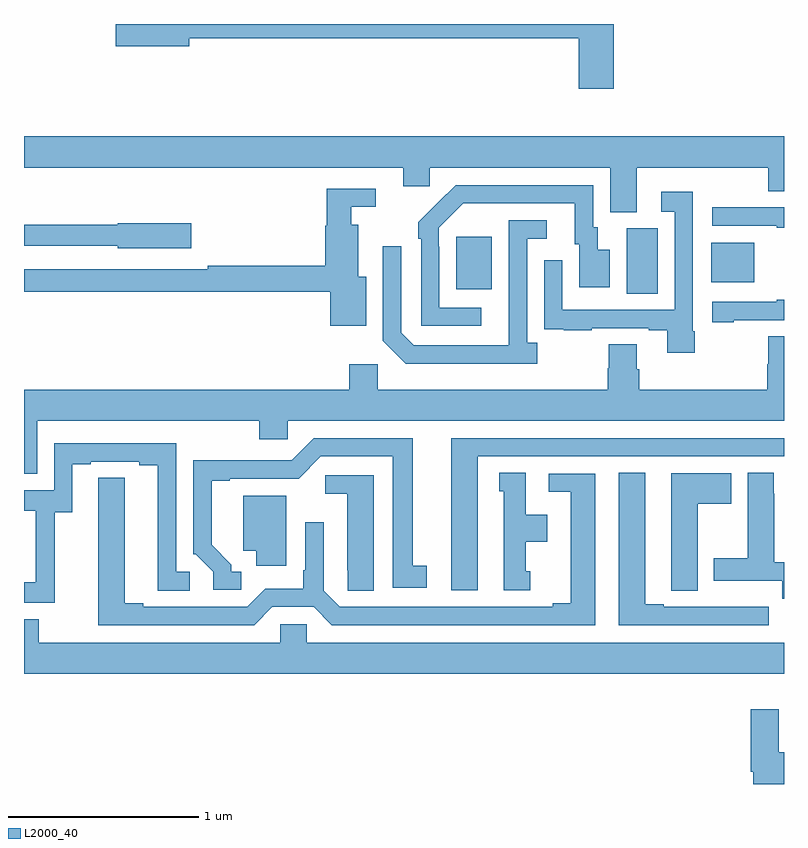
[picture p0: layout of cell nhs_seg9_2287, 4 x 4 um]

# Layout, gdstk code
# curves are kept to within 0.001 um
import gdstk
lib = gdstk.Library(unit=1e-6, precision=1e-09)
def R(c, l, rs):  # rectangles x0, y0, x1, y1
    for r in rs: c.add(gdstk.rectangle(r[:2], r[2:], *l))
def P(c, l, *ps):  # polygons
    for p in ps: c.add(gdstk.Polygon(p, *l))
L2000_40 = (2000, 40)

nhs_seg9_2287 = lib.new_cell('nhs_seg9_2287')
R(nhs_seg9_2287, L2000_40, [(244.172,1205.08,244.336,1205.424), (243.275,1205.105,243.463,1205.38), (244.616,1205.141,244.843,1205.35)])
P(nhs_seg9_2287, L2000_40, [(244.103,1206.5),(241.482,1206.5),(241.482,1206.382),(241.87,1206.382),(241.87,1206.424),(243.92,1206.424),(243.92,1206.159),(244.103,1206.159)],
  [(241,1205.744),(242.996,1205.744),(242.996,1205.646),(243.135,1205.646),(243.135,1205.744),(244.085,1205.744),(244.085,1205.509),(244.225,1205.509),(244.225,1205.744),(244.918,1205.744),(244.918,1205.62),(245,1205.62),(245,1205.908),(241,1205.908)],
  [(243.406,1205.007),(243.186,1205.007),(243.186,1205.327),(243.183,1205.327),(243.183,1205.427),(243.312,1205.556),(243.899,1205.556),(243.899,1205.34),(243.923,1205.34),(243.923,1205.115),(244.084,1205.115),(244.084,1205.311),(244.021,1205.311),(244.021,1205.43),(243.996,1205.43),(243.996,1205.652),(243.272,1205.652),(243.075,1205.457),(243.075,1205.369),(243.09,1205.369),(243.09,1204.911),(243.406,1204.911)],
  [(242.8,1205.17),(242.758,1205.17),(242.758,1205.443),(242.722,1205.443),(242.722,1205.538),(242.851,1205.538),(242.851,1205.634),(242.593,1205.634),(242.593,1205.439),(242.585,1205.439),(242.585,1205.228),(241.966,1205.228),(241.966,1205.208),(241,1205.208),(241,1205.092),(242.612,1205.092),(242.612,1204.913),(242.8,1204.913)],
  [(244.53,1204.882),(244.521,1204.882),(244.521,1205.617),(244.353,1205.617),(244.353,1205.511),(244.425,1205.511),(244.425,1204.995),(243.834,1204.995),(243.834,1205.257),(243.738,1205.257),(243.738,1205.002),(243.739,1205.002),(243.739,1204.893),(243.841,1204.893),(243.841,1204.887),(243.989,1204.887),(243.989,1204.899),(244.289,1204.899),(244.289,1204.887),(244.385,1204.887),(244.385,1204.77),(244.53,1204.77)],
  [(245,1205.535),(244.623,1205.535),(244.623,1205.439),(244.961,1205.439),(244.961,1205.427),(245,1205.427)],
  [(243.7,1204.822),(243.648,1204.822),(243.648,1205.37),(243.751,1205.37),(243.751,1205.466),(243.552,1205.466),(243.551,1204.809),(243.051,1204.809),(242.985,1204.875),(242.985,1205.329),(242.889,1205.329),(242.889,1204.833),(243.01,1204.712),(243.7,1204.712)],
  [(241.879,1205.451),(241.494,1205.451),(241.494,1205.443),(241,1205.443),(241,1205.334),(241.494,1205.334),(241.494,1205.321),(241.879,1205.321)],
  [(244.735,1204.941),(245,1204.941),(245,1205.05),(244.961,1205.05),(244.961,1205.037),(244.623,1205.037),(244.623,1204.929),(244.735,1204.929)],
  [(241.069,1204.412),(242.237,1204.412),(242.237,1204.314),(242.388,1204.314),(242.388,1204.412),(245,1204.412),(245,1204.856),(244.918,1204.856),(244.918,1204.71),(244.913,1204.71),(244.913,1204.576),(244.238,1204.576),(244.238,1204.682),(244.225,1204.682),(244.225,1204.814),(244.078,1204.814),(244.078,1204.689),(244.073,1204.689),(244.073,1204.576),(242.862,1204.576),(242.862,1204.708),(242.711,1204.708),(242.711,1204.576),(241,1204.576),(241,1204.132),(241.069,1204.132)],
  [(242.143,1203.618),(242.092,1203.618),(242.092,1203.653),(241.987,1203.758),(241.987,1204.095),(242.083,1204.095),(242.083,1204.107),(242.445,1204.107),(242.562,1204.224),(242.942,1204.224),(242.942,1203.534),(243.121,1203.534),(243.121,1203.65),(243.046,1203.65),(243.046,1204.32),(242.526,1204.32),(242.409,1204.203),(242.153,1204.203),(242.153,1204.205),(241.89,1204.205),(241.89,1203.708),(241.905,1203.708),(241.995,1203.618),(241.995,1203.522),(242.143,1203.522)],
  [(243.388,1204.224),(245,1204.224),(245,1204.32),(243.248,1204.32),(243.248,1203.519),(243.388,1203.519)],
  [(241.161,1203.931),(241.255,1203.931),(241.255,1204.182),(241.351,1204.182),(241.351,1204.197),(241.607,1204.197),(241.607,1204.177),(241.703,1204.177),(241.703,1203.517),(241.873,1203.517),(241.873,1203.618),(241.8,1203.618),(241.8,1204.293),(241.158,1204.293),(241.158,1204.047),(241,1204.047),(241,1203.939),(241.061,1203.939),(241.061,1203.562),(241,1203.562),(241,1203.453),(241.161,1203.453)],
  [(245,1203.666),(244.948,1203.666),(244.948,1204.028),(244.947,1204.028),(244.947,1204.139),(244.808,1204.139),(244.808,1203.687),(244.631,1203.687),(244.631,1203.57),(244.99,1203.57),(244.99,1203.474),(245,1203.474)],
  [(244.921,1203.432),(244.808,1203.432),(244.808,1203.433),(244.642,1203.433),(244.642,1203.432),(244.366,1203.432),(244.366,1203.447),(244.27,1203.447),(244.27,1204.139),(244.13,1204.139),(244.13,1203.336),(244.921,1203.336)],
  [(243.664,1203.621),(243.64,1203.621),(243.64,1203.776),(243.754,1203.776),(243.754,1203.916),(243.64,1203.916),(243.64,1204.139),(243.5,1204.139),(243.5,1204.041),(243.524,1204.041),(243.524,1203.519),(243.664,1203.519)],
  [(244.546,1203.976),(244.723,1203.976),(244.723,1204.135),(244.406,1204.135),(244.406,1203.625),(244.407,1203.625),(244.407,1203.517),(244.546,1203.517)],
  [(242.307,1203.432),(242.525,1203.432),(242.621,1203.336),(244.006,1203.336),(244.006,1204.134),(243.762,1204.134),(243.762,1204.038),(243.878,1204.038),(243.878,1203.452),(243.782,1203.452),(243.782,1203.432),(242.661,1203.432),(242.577,1203.516),(242.577,1203.877),(242.481,1203.877),(242.481,1203.625),(242.469,1203.625),(242.469,1203.528),(242.271,1203.528),(242.175,1203.432),(241.627,1203.432),(241.627,1203.452),(241.531,1203.452),(241.531,1204.112),(241.392,1204.112),(241.391,1203.336),(242.211,1203.336)],
  [(242.842,1204.125),(242.586,1204.125),(242.586,1204.028),(242.702,1204.028),(242.702,1203.625),(242.703,1203.625),(242.703,1203.517),(242.842,1203.517)],
  [(242.38,1204.018),(242.153,1204.018),(242.153,1203.728),(242.222,1203.728),(242.222,1203.648),(242.38,1203.648)],
  [(245,1203.244),(242.487,1203.244),(242.487,1203.342),(242.349,1203.342),(242.349,1203.244),(241.077,1203.244),(241.077,1203.368),(241,1203.368),(241,1203.08),(245,1203.08)],
  [(245,1202.668),(244.972,1202.668),(244.972,1202.893),(244.826,1202.893),(244.826,1202.564),(244.838,1202.564),(244.838,1202.5),(245,1202.5)])

lib.write_gds('nhs_seg9_2287.gds')
